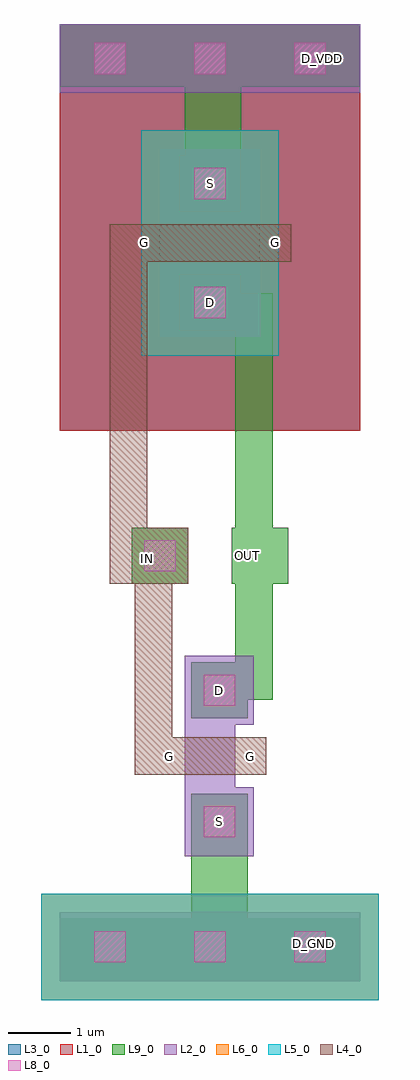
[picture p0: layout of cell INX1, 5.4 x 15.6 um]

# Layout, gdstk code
import gdstk
lib = gdstk.Library(unit=1e-6, precision=1e-09)
def R(c, l, rs):  # rectangles x0, y0, x1, y1
    for r in rs: c.add(gdstk.rectangle(r[:2], r[2:], *l))
def A(c, l, x, y, w, h, nx, ny, dx, dy):  # array of equal rectangles
    R(c, l, [(x+i*dx, y+j*dy, x+i*dx+w, y+j*dy+h) for i in range(nx) for j in range(ny)])
def P(c, l, *ps):  # polygons
    for p in ps: c.add(gdstk.Polygon(p, *l))
L1_0 = (1, 0)
L2_0 = (2, 0)
L3_0 = (3, 0)
L4_0 = (4, 0)
L5_0 = (5, 0)
L6_0 = (6, 0)
L8_0 = (8, 0)
L9_0 = (9, 0)

inx1 = lib.new_cell('INX1')
A(inx1, L1_0, 0, 8.8, 1.6, 6.5, 3, 1, 1.6, 0)
R(inx1, L1_0, [(0.1,8.8,4.7,14.8)])
A(inx1, L2_0, 0, 0, 1.6, 1.1, 3, 2, 1.6, 14.2)
R(inx1, L2_0, [(2,2,3.1,3.1), (2,3.1,2.8,4.1), (2,4.1,3.1,5.2), (1.6,10.3,3.2,11.4), (1.6,11.4,3.2,12.2), (1.6,12.2,3.2,13.3)])
A(inx1, L3_0, 0, 8.8, 1.6, 6.5, 3, 1, 1.6, 0)
R(inx1, L3_0, [(0.1,8.8,4.7,14.8)])
R(inx1, L4_0, [(1.2,3.3,1.8,6.35), (1.5,3.3,3.3,3.9), (1.5,3.3,2,3.9), (2.8,3.3,3.3,3.9), (0.8,6.35,1.4,12.1), (1.15,6.35,2.05,7.25), (1.1,11.5,1.6,12.1), (1.1,11.5,3.7,12.1), (3.2,11.5,3.7,12.1)])
R(inx1, L5_0, [(-0.3,-0.3,1.6,1.4), (1.6,-0.3,3.2,1.4), (3.2,-0.3,5.1,1.4), (1.3,10,3.5,13.6)])
R(inx1, L6_0, [(-0.3,-0.3,1.6,1.4), (1.6,-0.3,3.2,1.4), (3.2,-0.3,5.1,1.4), (1.3,10,3.5,13.6)])
A(inx1, L8_0, 0.55, 0.3, 0.5, 0.5, 3, 2, 1.6, 14.2)
R(inx1, L8_0, [(2.3,2.3,2.8,2.8), (2.3,4.4,2.8,4.9), (1.35,6.55,1.85,7.05), (2.15,10.6,2.65,11.1), (2.15,12.5,2.65,13)])
A(inx1, L9_0, 0, 0, 1.6, 1, 3, 2, 1.6, 14.3)
R(inx1, L9_0, [(2.1,0.1,3,3), (3.65,0.1,4.55,1), (2.1,2.1,3,3), (2.1,4.2,3,5.1), (1.15,6.35,2.05,7.25), (1.15,6.35,1.75,6.95), (2.75,6.35,3.65,7.25), (1.9,10.4,2.9,11.3), (1.9,12.3,2.9,13.2), (2,12.3,2.9,15.2), (3.6,14.4,4.5,15.3)])
P(inx1, L9_0, [(2.4,4.5),(3.4,4.5),(3.4,6.95),(2.8,6.95),(2.8,5.1),(2.4,5.1)],
  [(2.3,10.4),(2.8,10.4),(2.8,6.65),(3.4,6.65),(3.4,11),(2.3,11)])
inx1.add(gdstk.Label('G', (1.752,3.6), layer=4, texttype=0))
inx1.add(gdstk.Label('G', (3.052,3.6), layer=4, texttype=0))
inx1.add(gdstk.Label('S', (2.551,2.549), layer=9, texttype=0))
inx1.add(gdstk.Label('D', (2.551,4.649), layer=9, texttype=0))
inx1.add(gdstk.Label('G', (1.352,11.8), layer=4, texttype=0))
inx1.add(gdstk.Label('G', (3.452,11.8), layer=4, texttype=0))
inx1.add(gdstk.Label('S', (2.401,12.751), layer=9, texttype=0))
inx1.add(gdstk.Label('D', (2.401,10.851), layer=9, texttype=0))
inx1.add(gdstk.Label('IN', (1.4,6.75), layer=50, texttype=0))
inx1.add(gdstk.Label('D_VDD', (4.2,14.75), layer=50, texttype=0))
inx1.add(gdstk.Label('D_GND', (4.05,0.6), layer=50, texttype=0))
inx1.add(gdstk.Label('OUT', (3,6.8), layer=50, texttype=0))

lib.write_gds('INX1.gds')
